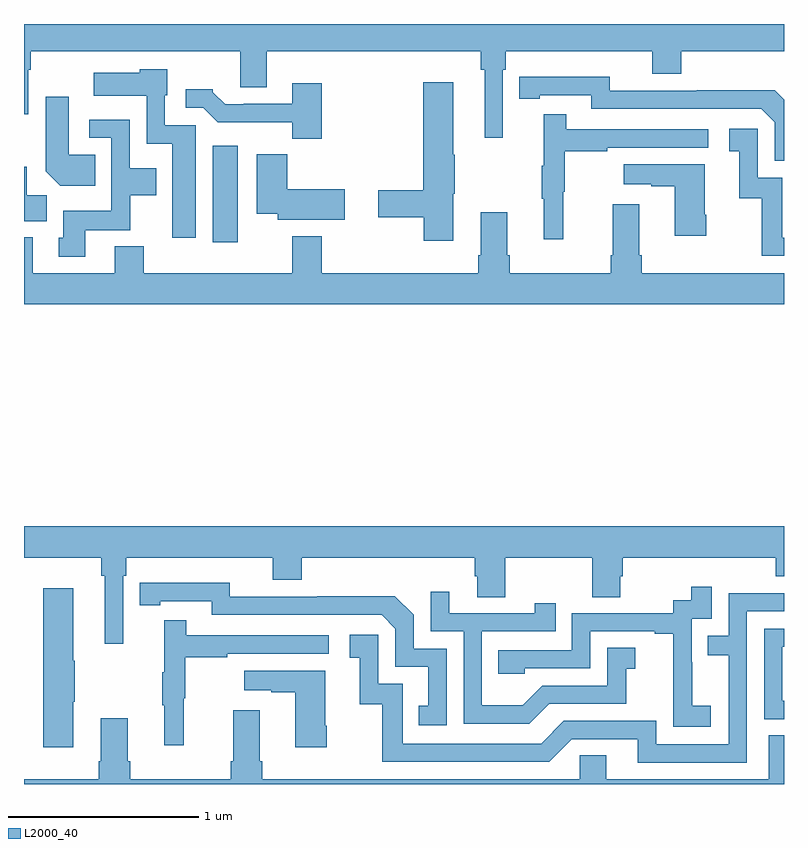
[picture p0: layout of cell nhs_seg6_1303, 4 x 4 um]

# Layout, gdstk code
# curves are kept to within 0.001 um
import gdstk
lib = gdstk.Library(unit=1e-6, precision=1e-09)
def R(c, l, rs):  # rectangles x0, y0, x1, y1
    for r in rs: c.add(gdstk.rectangle(r[:2], r[2:], *l))
def P(c, l, *ps):  # polygons
    for p in ps: c.add(gdstk.Polygon(p, *l))
L2000_40 = (2000, 40)

nhs_seg6_1303 = lib.new_cell('nhs_seg6_1303')
R(nhs_seg6_1303, L2000_40, [(191.993,926.352,192.124,926.86)])
P(nhs_seg6_1303, L2000_40, [(193.521,927.26),(193.535,927.26),(193.535,927.356),(194.306,927.356),(194.306,927.239),(194.459,927.239),(194.459,927.356),(195,927.356),(195,927.5),(191,927.5),(191,927.024),(191.022,927.024),(191.022,927.26),(191.035,927.26),(191.035,927.356),(192.137,927.356),(192.137,927.166),(192.277,927.166),(192.277,927.356),(193.405,927.356),(193.405,927.26),(193.424,927.26),(193.424,926.901),(193.521,926.901)],
  [(191.905,926.967),(191.742,926.967),(191.742,927.126),(191.755,927.126),(191.755,927.262),(191.61,927.262),(191.61,927.244),(191.367,927.244),(191.367,927.122),(191.646,927.122),(191.646,926.87),(191.78,926.87),(191.78,926.376),(191.905,926.376)],
  [(195,927.102),(194.95,927.152),(194.542,927.152),(194.542,927.15),(194.082,927.15),(194.082,927.223),(193.606,927.222),(193.606,927.106),(193.714,927.106),(193.714,927.126),(193.986,927.126),(193.986,927.054),(194.88,927.054),(194.952,926.982),(194.952,926.781),(195,926.781)],
  [(193.258,926.607),(193.266,926.607),(193.266,926.813),(193.258,926.813),(193.258,927.193),(193.1,927.193),(193.1,926.624),(192.864,926.624),(192.864,926.482),(193.105,926.482),(193.105,926.358),(193.258,926.358)],
  [(192.566,927.187),(192.413,927.187),(192.413,927.081),(192.157,927.081),(192.157,927.078),(192.058,927.078),(191.994,927.142),(191.994,927.157),(191.85,927.157),(191.85,927.06),(191.943,927.06),(192.019,926.984),(192.411,926.984),(192.411,926.897),(192.566,926.897)],
  [(191.375,926.812),(191.236,926.812),(191.236,927.118),(191.114,927.118),(191.114,926.726),(191.192,926.648),(191.375,926.648)],
  [(193.838,926.616),(193.846,926.616),(193.846,926.83),(194.069,926.83),(194.069,926.85),(194.602,926.85),(194.602,926.946),(193.853,926.946),(193.853,927.025),(193.736,927.025),(193.736,926.753),(193.725,926.753),(193.725,926.579),(193.736,926.579),(193.736,926.367),(193.838,926.367)],
  [(191.323,926.414),(191.559,926.414),(191.559,926.6),(191.695,926.6),(191.695,926.74),(191.556,926.74),(191.556,926.997),(191.343,926.997),(191.343,926.901),(191.46,926.901),(191.46,926.518),(191.207,926.518),(191.207,926.376),(191.183,926.376),(191.183,926.274),(191.323,926.274)],
  [(195,926.376),(194.991,926.376),(194.991,926.691),(194.862,926.691),(194.862,926.95),(194.712,926.95),(194.712,926.829),(194.765,926.829),(194.765,926.583),(194.883,926.583),(194.883,926.28),(195,926.28)],
  [(192.688,926.629),(192.386,926.629),(192.386,926.815),(192.224,926.815),(192.224,926.501),(192.335,926.501),(192.335,926.471),(192.688,926.471)],
  [(194.592,926.497),(194.584,926.497),(194.584,926.761),(194.157,926.761),(194.157,926.657),(194.3,926.657),(194.3,926.647),(194.426,926.647),(194.426,926.385),(194.592,926.385)],
  [(191.119,926.6),(191.014,926.6),(191.014,926.749),(191,926.749),(191,926.462),(191.119,926.462)],
  [(195,926.188),(194.252,926.188),(194.252,926.284),(194.239,926.284),(194.239,926.551),(194.099,926.551),(194.099,926.284),(194.087,926.284),(194.087,926.188),(193.556,926.188),(193.556,926.284),(193.543,926.284),(193.543,926.509),(193.403,926.509),(193.403,926.284),(193.391,926.284),(193.391,926.188),(192.566,926.188),(192.566,926.383),(192.413,926.383),(192.413,926.188),(191.63,926.188),(191.63,926.329),(191.477,926.329),(191.477,926.188),(191.047,926.188),(191.047,926.377),(191,926.377),(191,926.024),(195,926.024)],
  [(191.523,924.596),(191.537,924.596),(191.537,924.692),(192.308,924.692),(192.308,924.575),(192.461,924.575),(192.461,924.692),(193.373,924.692),(193.373,924.594),(193.385,924.594),(193.385,924.484),(193.533,924.484),(193.533,924.692),(193.99,924.692),(193.99,924.484),(194.137,924.484),(194.137,924.594),(194.15,924.594),(194.15,924.692),(194.957,924.692),(194.957,924.593),(195,924.593),(195,924.856),(191,924.856),(191,924.692),(191.407,924.692),(191.407,924.596),(191.426,924.596),(191.426,924.237),(191.523,924.237)],
  [(193.224,924.213),(193.05,924.213),(193.05,924.39),(192.952,924.488),(192.544,924.488),(192.544,924.486),(192.084,924.486),(192.084,924.559),(191.608,924.558),(191.608,924.442),(191.716,924.442),(191.716,924.462),(191.988,924.462),(191.988,924.39),(192.882,924.39),(192.954,924.318),(192.954,924.117),(193.127,924.117),(193.127,923.913),(193.078,923.913),(193.078,923.808),(193.224,923.808)],
  [(194.614,923.911),(194.516,923.911),(194.516,924.14),(194.514,924.14),(194.514,924.369),(194.619,924.369),(194.619,924.538),(194.511,924.538),(194.511,924.468),(194.418,924.468),(194.418,924.399),(193.884,924.399),(193.884,924.204),(193.495,924.204),(193.495,924.081),(193.635,924.081),(193.635,924.108),(193.98,924.108),(193.98,924.303),(194.321,924.303),(194.321,924.291),(194.417,924.291),(194.417,924.007),(194.416,924.007),(194.416,923.801),(194.614,923.801)],
  [(191.26,923.932),(191.268,923.932),(191.268,924.149),(191.26,924.149),(191.26,924.529),(191.102,924.529),(191.102,923.694),(191.26,923.694)],
  [(193.765,923.922),(194.169,923.922),(194.169,924.107),(194.218,924.107),(194.218,924.217),(194.07,924.217),(194.07,924.018),(193.728,924.018),(193.624,923.914),(193.41,923.914),(193.41,924.303),(193.799,924.303),(193.799,924.451),(193.688,924.451),(193.688,924.399),(193.237,924.399),(193.237,924.511),(193.14,924.511),(193.14,924.303),(193.314,924.303),(193.314,923.817),(193.66,923.817)],
  [(194.805,924.408),(195,924.408),(195,924.504),(194.709,924.504),(194.709,924.279),(194.599,924.279),(194.599,924.178),(194.709,924.178),(194.709,923.709),(194.328,923.709),(194.328,923.832),(193.842,923.832),(193.722,923.712),(192.993,923.712),(192.993,924.027),(192.864,924.027),(192.864,924.286),(192.714,924.286),(192.714,924.165),(192.767,924.165),(192.767,923.919),(192.885,923.919),(192.885,923.616),(193.764,923.616),(193.884,923.736),(194.231,923.736),(194.231,923.613),(194.805,923.613)],
  [(191.84,923.952),(191.848,923.952),(191.848,924.166),(192.071,924.166),(192.071,924.186),(192.604,924.186),(192.604,924.282),(191.855,924.282),(191.855,924.361),(191.738,924.361),(191.738,924.089),(191.727,924.089),(191.727,923.915),(191.738,923.915),(191.738,923.703),(191.84,923.703)],
  [(195,923.937),(194.991,923.937),(194.991,924.222),(195,924.222),(195,924.318),(194.895,924.318),(194.895,923.841),(195,923.841)],
  [(192.594,923.806),(192.586,923.806),(192.586,924.097),(192.159,924.097),(192.159,923.993),(192.302,923.993),(192.302,923.983),(192.428,923.983),(192.428,923.694),(192.594,923.694)],
  [(192.241,923.62),(192.241,923.887),(192.101,923.887),(192.101,923.62),(192.089,923.62),(192.089,923.524),(191.558,923.524),(191.558,923.62),(191.545,923.62),(191.545,923.845),(191.405,923.845),(191.405,923.62),(191.393,923.62),(191.393,923.524),(191,923.524),(191,923.5),(195,923.5),(195,923.756),(194.921,923.756),(194.921,923.524),(194.065,923.524),(194.065,923.651),(193.926,923.651),(193.926,923.524),(192.254,923.524),(192.254,923.62)])

lib.write_gds('nhs_seg6_1303.gds')
